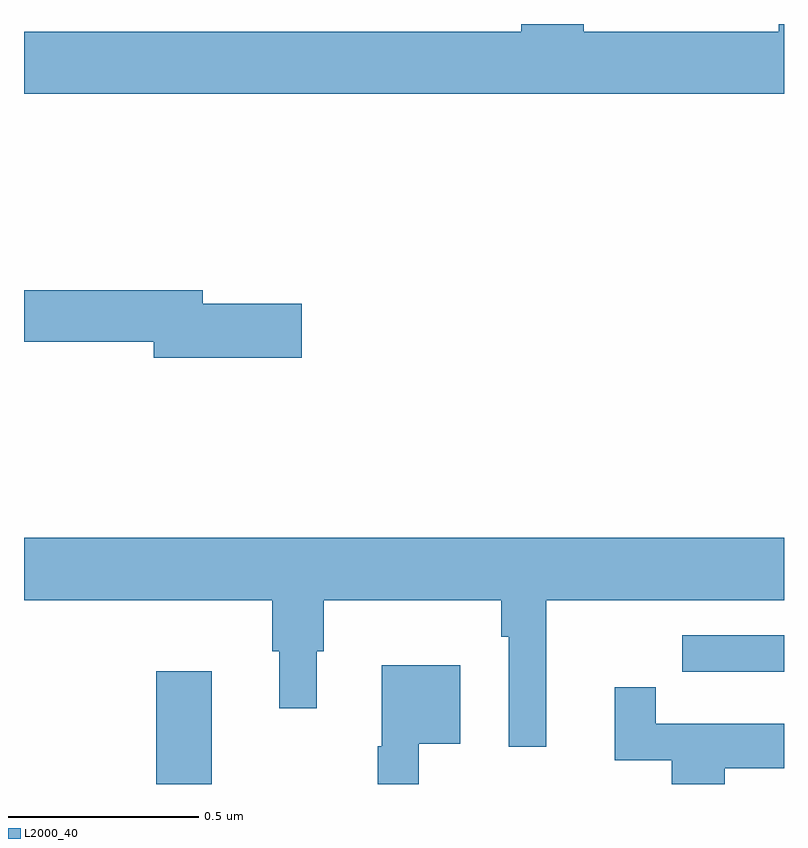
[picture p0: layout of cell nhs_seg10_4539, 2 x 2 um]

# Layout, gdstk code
import gdstk
lib = gdstk.Library(unit=1e-6, precision=1e-09)
def R(c, l, rs):  # rectangles x0, y0, x1, y1
    for r in rs: c.add(gdstk.rectangle(r[:2], r[2:], *l))
def P(c, l, *ps):  # polygons
    for p in ps: c.add(gdstk.Polygon(p, *l))
L2000_40 = (2000, 40)

nhs_seg10_4539 = lib.new_cell('nhs_seg10_4539')
R(nhs_seg10_4539, L2000_40, [(167.348,1298.5,167.494,1298.797)])
P(nhs_seg10_4539, L2000_40, [(169,1300.5),(168.986,1300.5),(168.986,1300.48),(168.473,1300.48),(168.473,1300.5),(168.308,1300.5),(168.308,1300.48),(167,1300.48),(167,1300.316),(169,1300.316)],
  [(167.731,1299.764),(167.47,1299.764),(167.47,1299.8),(167,1299.8),(167,1299.664),(167.342,1299.664),(167.342,1299.622),(167.731,1299.622)],
  [(168.374,1298.984),(169,1298.984),(169,1299.148),(167,1299.148),(167,1298.984),(167.653,1298.984),(167.653,1298.85),(167.672,1298.85),(167.672,1298.7),(167.77,1298.7),(167.77,1298.85),(167.789,1298.85),(167.789,1298.984),(168.256,1298.984),(168.256,1298.888),(168.276,1298.888),(168.276,1298.598),(168.374,1298.598)],
  [(169,1298.892),(168.732,1298.892),(168.732,1298.796),(168.844,1298.796),(168.844,1298.795),(169,1298.795)],
  [(168.039,1298.606),(168.148,1298.606),(168.148,1298.812),(167.942,1298.812),(167.942,1298.6),(167.931,1298.6),(167.931,1298.5),(168.039,1298.5)],
  [(168.844,1298.542),(169,1298.542),(169,1298.658),(168.662,1298.658),(168.662,1298.755),(168.554,1298.755),(168.554,1298.562),(168.704,1298.562),(168.704,1298.5),(168.844,1298.5)])

lib.write_gds('nhs_seg10_4539.gds')
